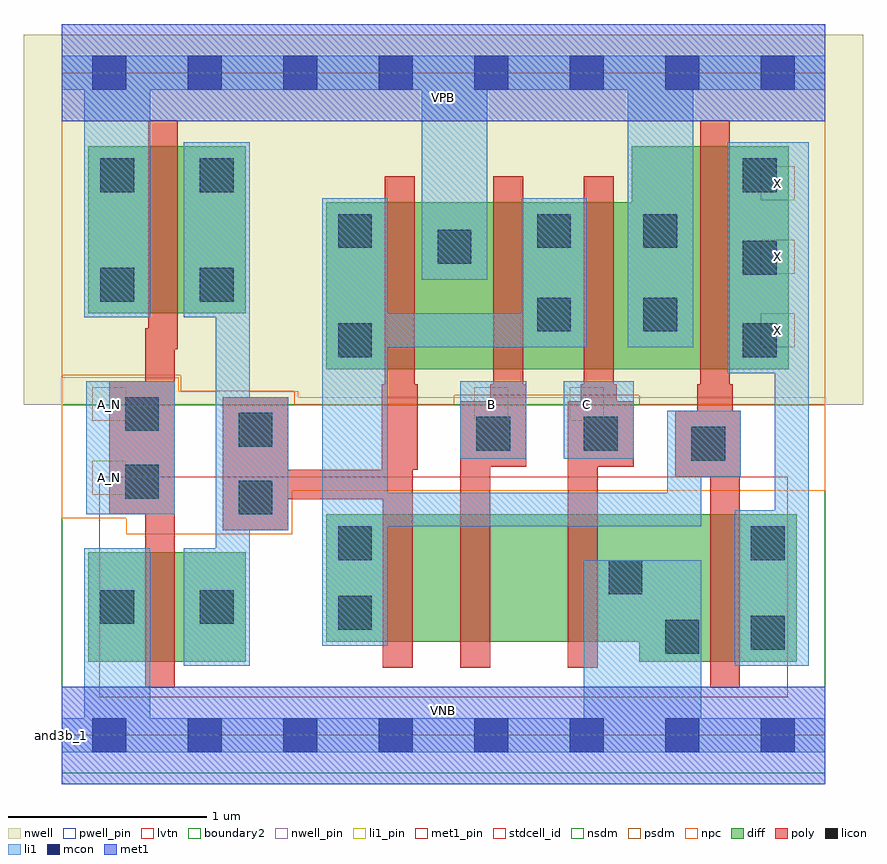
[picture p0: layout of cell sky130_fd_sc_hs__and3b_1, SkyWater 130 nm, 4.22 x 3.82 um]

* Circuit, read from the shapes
.subckt sky130_fd_sc_hs__and3b_1 A_N B C VGND VNB VPB VPWR X
XM1 n1 A_N VGND VNB sky130_fd_pr__nfet_01v8_lvt w=0.55 l=0.15
XM2 n2 n1 n3 VNB sky130_fd_pr__nfet_01v8_lvt w=0.64 l=0.15
XM3 n4 B n2 VNB sky130_fd_pr__nfet_01v8_lvt w=0.64 l=0.15
XM4 VGND C n4 VNB sky130_fd_pr__nfet_01v8_lvt w=0.64 l=0.15
XM5 X n3 VGND VNB sky130_fd_pr__nfet_01v8_lvt w=0.74 l=0.15
XM6 n1 A_N VPWR VPB sky130_fd_pr__pfet_01v8 w=0.84 l=0.15
XM7 VPWR n1 n3 VPB sky130_fd_pr__pfet_01v8 w=0.84 l=0.15
XM8 n3 B VPWR VPB sky130_fd_pr__pfet_01v8 w=0.84 l=0.15
XM9 VPWR C n3 VPB sky130_fd_pr__pfet_01v8 w=0.84 l=0.15
XM10 X n3 VPWR VPB sky130_fd_pr__pfet_01v8 w=1.12 l=0.15
.ends

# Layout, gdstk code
import gdstk
lib = gdstk.Library(unit=1e-6, precision=1e-09)
def R(c, l, rs):  # rectangles x0, y0, x1, y1
    for r in rs: c.add(gdstk.rectangle(r[:2], r[2:], *l))
def A(c, l, x, y, w, h, nx, ny, dx, dy):  # array of equal rectangles
    R(c, l, [(x+i*dx, y+j*dy, x+i*dx+w, y+j*dy+h) for i in range(nx) for j in range(ny)])
def P(c, l, *ps):  # polygons
    for p in ps: c.add(gdstk.Polygon(p, *l))
nwell_pin = (64, 16)
nwell = (64, 20)
diff = (65, 20)
poly = (66, 20)
licon = (66, 44)
li1_pin = (67, 16)
li1 = (67, 20)
mcon = (67, 44)
met1_pin = (68, 16)
met1 = (68, 20)
stdcell_id = (81, 4)
nsdm = (93, 44)
psdm = (94, 20)
npc = (95, 20)
pwell_pin = (122, 16)
lvtn = (125, 44)
boundary2 = (236, 0)

sky130_fd_sc_hs__and3b_1 = lib.new_cell('sky130_fd_sc_hs__and3b_1')
R(sky130_fd_sc_hs__and3b_1, nwell_pin, [(0,3.085,3.84,3.33)])
R(sky130_fd_sc_hs__and3b_1, nwell, [(-0.19,1.66,4.03,3.52)])
R(sky130_fd_sc_hs__and3b_1, diff, [(0.135,0.37,0.925,0.92), (0.135,2.12,0.925,2.96)])
P(sky130_fd_sc_hs__and3b_1, diff, [(3.655,2.96),(2.865,2.96),(2.865,2.68),(1.33,2.68),(1.33,1.84),(3.655,1.84)],
  [(3.695,1.11),(1.33,1.11),(1.33,0.47),(2.905,0.47),(2.905,0.37),(3.695,0.37)])
P(sky130_fd_sc_hs__and3b_1, poly, [(2.875,1.68),(2.79,1.68),(2.79,1.765),(2.775,1.765),(2.775,2.81),(2.625,2.81),(2.625,1.765),(2.61,1.765),(2.61,1.68),(2.545,1.68),(2.545,0.34),(2.695,0.34),(2.695,1.35),(2.875,1.35)],
  [(3.415,1.63),(3.375,1.63),(3.375,1.765),(3.36,1.765),(3.36,3.09),(3.21,3.09),(3.21,1.765),(3.195,1.765),(3.195,1.63),(3.085,1.63),(3.085,1.3),(3.26,1.3),(3.26,0.24),(3.41,0.24),(3.41,1.3),(3.415,1.3)],
  [(0.585,3.09),(0.435,3.09),(0.435,2.045),(0.42,2.045),(0.42,1.78),(0.24,1.78),(0.24,1.11),(0.42,1.11),(0.42,0.24),(0.57,0.24),(0.57,1.94),(0.585,1.94)],
  [(1.79,1.765),(1.775,1.765),(1.775,2.81),(1.625,2.81),(1.625,1.765),(1.61,1.765),(1.61,1.335),(1.14,1.335),(1.14,1.7),(0.81,1.7),(0.81,1.03),(1.14,1.03),(1.14,1.185),(1.615,1.185),(1.615,0.34),(1.765,0.34),(1.765,1.335),(1.79,1.335)],
  [(2.335,1.765),(2.32,1.765),(2.32,2.81),(2.17,2.81),(2.17,1.765),(2.155,1.765),(2.155,1.68),(2.005,1.68),(2.005,0.34),(2.155,0.34),(2.155,1.35),(2.335,1.35)])
A(sky130_fd_sc_hs__and3b_1, licon, 3.425, 1.9, 0.17, 0.17, 1, 3, 0, 0.415)
R(sky130_fd_sc_hs__and3b_1, licon, [(3.035,0.41,3.205,0.58), (3.465,0.43,3.635,0.6), (1.39,0.53,1.56,0.7), (0.195,0.56,0.365,0.73), (0.695,0.56,0.865,0.73), (2.75,0.71,2.92,0.88), (1.39,0.88,1.56,1.05), (3.465,0.88,3.635,1.05), (0.89,1.11,1.06,1.28), (0.32,1.19,0.49,1.36), (3.165,1.38,3.335,1.55), (2.085,1.43,2.255,1.6), (2.625,1.43,2.795,1.6), (0.89,1.45,1.06,1.62), (0.32,1.53,0.49,1.7), (1.39,1.9,1.56,2.07), (2.39,2.03,2.56,2.2), (2.925,2.03,3.095,2.2), (0.195,2.18,0.365,2.35), (0.695,2.18,0.865,2.35), (1.89,2.37,2.06,2.54), (1.39,2.45,1.56,2.62), (2.39,2.45,2.56,2.62), (2.925,2.45,3.095,2.62), (0.195,2.73,0.365,2.9), (0.695,2.73,0.865,2.9)])
A(sky130_fd_sc_hs__and3b_1, li1_pin, 3.515, 1.95, 0.17, 0.17, 1, 3, 0, 0.37)
R(sky130_fd_sc_hs__and3b_1, li1_pin, [(0.155,1.21,0.325,1.38), (0.155,1.58,0.325,1.75), (2.075,1.58,2.245,1.75), (2.555,1.58,2.725,1.75)])
R(sky130_fd_sc_hs__and3b_1, li1, [(0.125,1.11,0.57,1.78), (2.005,1.39,2.335,1.78), (2.525,1.39,2.875,1.78)])
P(sky130_fd_sc_hs__and3b_1, li1, [(0.115,2.1),(0.115,3.245),(0,3.245),(0,3.415),(3.84,3.415),(3.84,3.245),(3.175,3.245),(3.175,1.95),(2.845,1.95),(2.845,3.245),(2.14,3.245),(2.14,2.29),(1.81,2.29),(1.81,3.245),(0.445,3.245),(0.445,2.1)],
  [(0.115,0.085),(0.115,0.94),(0.445,0.94),(0.445,0.085),(2.625,0.085),(2.625,0.88),(3.215,0.88),(3.215,0.085),(3.84,0.085),(3.84,-0.085),(0,-0.085),(0,0.085)],
  [(3.345,1.82),(3.345,2.98),(3.755,2.98),(3.755,0.35),(3.385,0.35),(3.385,1.13),(3.585,1.13),(3.585,1.82)],
  [(0.615,0.35),(0.615,0.94),(0.775,0.94),(0.775,2.1),(0.615,2.1),(0.615,2.98),(0.945,2.98),(0.945,1.7),(1.14,1.7),(1.14,1.03),(0.945,1.03),(0.945,0.35)],
  [(3.215,1.05),(1.64,1.05),(1.64,0.45),(1.31,0.45),(1.31,2.7),(1.64,2.7),(1.64,2.12),(2.31,2.12),(2.31,2.7),(2.64,2.7),(2.64,1.95),(1.64,1.95),(1.64,1.22),(3.045,1.22),(3.045,1.63),(3.415,1.63),(3.415,1.3),(3.215,1.3)])
A(sky130_fd_sc_hs__and3b_1, mcon, 0.155, -0.085, 0.17, 0.17, 8, 2, 0.48, 3.33)
R(sky130_fd_sc_hs__and3b_1, met1_pin, [(0,0,3.84,0.245), (0,3.085,3.84,3.33)])
R(sky130_fd_sc_hs__and3b_1, met1, [(0,-0.245,3.84,0.245), (0,3.085,3.84,3.575)])
R(sky130_fd_sc_hs__and3b_1, stdcell_id, [(0,0,3.84,3.33)])
R(sky130_fd_sc_hs__and3b_1, nsdm, [(0,-0.19,3.84,1.66)])
P(sky130_fd_sc_hs__and3b_1, psdm, [(3.84,3.52),(0,3.52),(0,1.81),(0.6,1.81),(0.6,1.73),(1.17,1.73),(1.17,1.66),(1.975,1.66),(1.975,1.71),(2.905,1.71),(2.905,1.66),(3.84,1.66)])
P(sky130_fd_sc_hs__and3b_1, npc, [(3.84,1.7),(1.19,1.7),(1.19,1.73),(0.59,1.73),(0.59,1.8),(0,1.8),(0,1.09),(0.325,1.09),(0.325,1.01),(1.16,1.01),(1.16,1.23),(3.84,1.23)])
R(sky130_fd_sc_hs__and3b_1, pwell_pin, [(0,0,3.84,0.245)])
R(sky130_fd_sc_hs__and3b_1, lvtn, [(0.19,0.19,3.65,1.3)])
R(sky130_fd_sc_hs__and3b_1, boundary2, [(0,0,3.84,3.33)])
sky130_fd_sc_hs__and3b_1.add(gdstk.Label('and3b_1', (0,0), layer=83, texttype=44))
sky130_fd_sc_hs__and3b_1.add(gdstk.Label('VNB', (1.92,0.123), layer=64, texttype=59))
sky130_fd_sc_hs__and3b_1.add(gdstk.Label('VPB', (1.92,3.208), layer=64, texttype=5))
sky130_fd_sc_hs__and3b_1.add(gdstk.Label('VPWR', (1.92,3.208), layer=68, texttype=5))
sky130_fd_sc_hs__and3b_1.add(gdstk.Label('VGND', (1.92,0.123), layer=68, texttype=5))
sky130_fd_sc_hs__and3b_1.add(gdstk.Label('X', (3.6,2.035), layer=67, texttype=5))
sky130_fd_sc_hs__and3b_1.add(gdstk.Label('X', (3.6,2.405), layer=67, texttype=5))
sky130_fd_sc_hs__and3b_1.add(gdstk.Label('X', (3.6,2.775), layer=67, texttype=5))
sky130_fd_sc_hs__and3b_1.add(gdstk.Label('A_N', (0.24,1.295), layer=67, texttype=5))
sky130_fd_sc_hs__and3b_1.add(gdstk.Label('A_N', (0.24,1.665), layer=67, texttype=5))
sky130_fd_sc_hs__and3b_1.add(gdstk.Label('C', (2.64,1.665), layer=67, texttype=5))
sky130_fd_sc_hs__and3b_1.add(gdstk.Label('B', (2.16,1.665), layer=67, texttype=5))

lib.write_gds('sky130_fd_sc_hs__and3b_1.gds')
